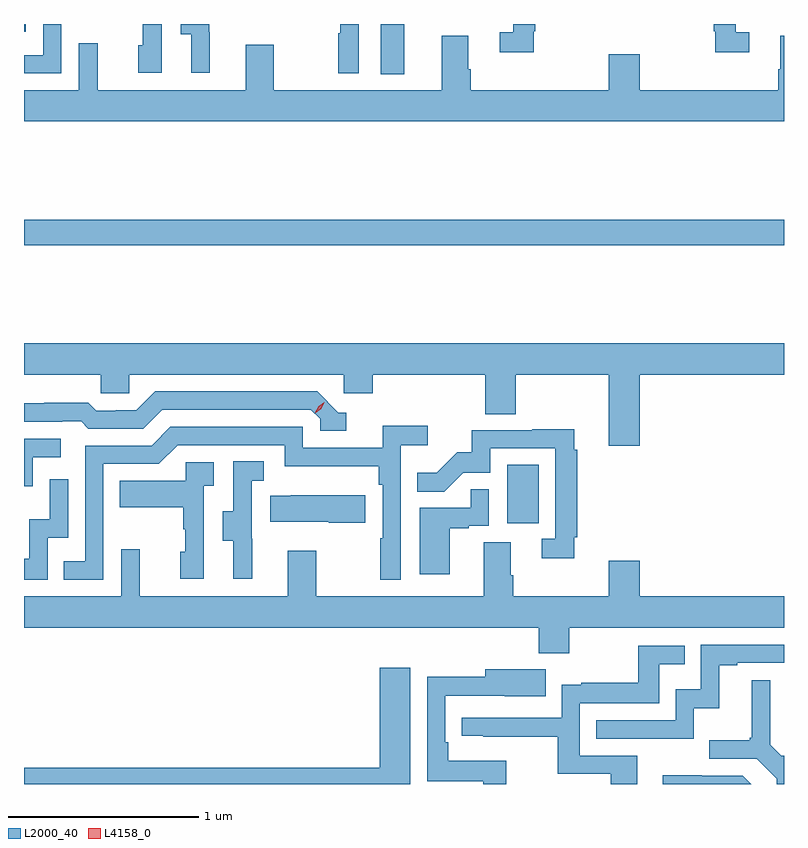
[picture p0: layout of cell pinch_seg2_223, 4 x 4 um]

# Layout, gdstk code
import gdstk
lib = gdstk.Library(unit=1e-6, precision=1e-09)
def R(c, l, rs):  # rectangles x0, y0, x1, y1
    for r in rs: c.add(gdstk.rectangle(r[:2], r[2:], *l))
def P(c, l, *ps):  # polygons
    for p in ps: c.add(gdstk.Polygon(p, *l))
L2000_40 = (2000, 40)
L4158_0 = (4158, 0)

pinch_seg2_223 = lib.new_cell('pinch_seg2_223')
R(pinch_seg2_223, L2000_40, [(1015.622,652.182,1015.786,652.489), (1013.078,653.644,1017.078,653.78), (1014.956,654.545,1015.078,654.809), (1013.078,654.768,1013.088,654.809)])
P(pinch_seg2_223, L2000_40, [(1014.056,654.765),(1014.054,654.765),(1014.054,654.809),(1013.903,654.809),(1013.903,654.754),(1013.957,654.754),(1013.957,654.552),(1014.056,654.552)],
  [(1015.762,654.772),(1015.769,654.772),(1015.769,654.809),(1015.653,654.809),(1015.653,654.765),(1015.581,654.765),(1015.581,654.66),(1015.762,654.66)],
  [(1014.84,654.809),(1014.743,654.809),(1014.743,654.761),(1014.732,654.761),(1014.732,654.549),(1014.84,654.549)],
  [(1013.274,654.809),(1013.178,654.809),(1013.178,654.645),(1013.078,654.645),(1013.078,654.549),(1013.274,654.549)],
  [(1013.802,654.809),(1013.704,654.809),(1013.704,654.696),(1013.678,654.696),(1013.678,654.552),(1013.802,654.552)],
  [(1016.896,654.765),(1016.823,654.765),(1016.823,654.809),(1016.707,654.809),(1016.707,654.772),(1016.715,654.772),(1016.715,654.66),(1016.896,654.66)],
  [(1017.078,654.746),(1017.059,654.746),(1017.059,654.572),(1017.047,654.572),(1017.047,654.46),(1016.32,654.46),(1016.32,654.649),(1016.156,654.649),(1016.156,654.46),(1015.43,654.46),(1015.43,654.572),(1015.417,654.572),(1015.417,654.746),(1015.277,654.746),(1015.277,654.46),(1014.393,654.46),(1014.393,654.7),(1014.245,654.7),(1014.245,654.46),(1013.465,654.46),(1013.465,654.709),(1013.367,654.709),(1013.367,654.46),(1013.078,654.46),(1013.078,654.296),(1017.078,654.296)],
  [(1016.32,652.964),(1017.078,652.964),(1017.078,653.128),(1013.078,653.128),(1013.078,652.964),(1013.481,652.964),(1013.481,652.866),(1013.631,652.866),(1013.631,652.964),(1014.762,652.964),(1014.762,652.866),(1014.914,652.866),(1014.914,652.964),(1015.505,652.964),(1015.505,652.756),(1015.665,652.756),(1015.665,652.964),(1016.156,652.964),(1016.156,652.59),(1016.32,652.59)],
  [(1014.775,652.764),(1014.732,652.764),(1014.621,652.875),(1013.768,652.875),(1013.669,652.776),(1013.562,652.776),(1013.562,652.773),(1013.459,652.773),(1013.417,652.816),(1013.184,652.816),(1013.184,652.813),(1013.078,652.813),(1013.078,652.716),(1013.279,652.716),(1013.279,652.719),(1013.378,652.719),(1013.417,652.68),(1013.706,652.68),(1013.805,652.779),(1014.588,652.779),(1014.636,652.731),(1014.636,652.668),(1014.775,652.668)],
  [(1013.496,652.494),(1013.787,652.494),(1013.886,652.593),(1014.45,652.593),(1014.45,652.481),(1014.946,652.481),(1014.946,652.385),(1014.966,652.385),(1014.966,652.103),(1014.954,652.103),(1014.954,651.885),(1015.062,651.885),(1015.062,652.592),(1015.204,652.592),(1015.204,652.694),(1014.965,652.694),(1014.965,652.578),(1014.546,652.578),(1014.546,652.689),(1013.849,652.689),(1013.75,652.59),(1013.4,652.59),(1013.4,651.981),(1013.287,651.981),(1013.287,651.885),(1013.496,651.885)],
  [(1015.973,652.108),(1015.991,652.108),(1015.991,652.568),(1015.973,652.568),(1015.973,652.676),(1015.753,652.676),(1015.753,652.671),(1015.435,652.671),(1015.435,652.554),(1015.358,652.554),(1015.251,652.447),(1015.147,652.447),(1015.147,652.348),(1015.291,652.348),(1015.389,652.446),(1015.533,652.446),(1015.533,652.575),(1015.875,652.575),(1015.875,652.101),(1015.803,652.101),(1015.803,651.996),(1015.973,651.996)],
  [(1013.124,652.53),(1013.272,652.53),(1013.272,652.626),(1013.078,652.626),(1013.078,652.377),(1013.124,652.377)],
  [(1014.278,652.101),(1014.276,652.101),(1014.276,652.405),(1014.34,652.405),(1014.34,652.508),(1014.18,652.508),(1014.18,652.245),(1014.125,652.245),(1014.125,652.09),(1014.179,652.09),(1014.179,651.888),(1014.278,651.888)],
  [(1014.024,652.379),(1014.076,652.379),(1014.076,652.503),(1013.928,652.503),(1013.928,652.405),(1013.581,652.405),(1013.581,652.265),(1013.916,652.265),(1013.916,652.151),(1013.926,652.151),(1013.926,652.032),(1013.9,652.032),(1013.9,651.888),(1014.024,651.888)],
  [(1013.202,652.104),(1013.31,652.104),(1013.31,652.414),(1013.214,652.414),(1013.214,652.202),(1013.105,652.202),(1013.105,651.994),(1013.078,651.994),(1013.078,651.885),(1013.202,651.885)],
  [(1015.318,652.155),(1015.418,652.155),(1015.418,652.167),(1015.524,652.167),(1015.524,652.361),(1015.429,652.361),(1015.429,652.263),(1015.16,652.263),(1015.16,651.912),(1015.318,651.912)],
  [(1014.874,652.33),(1014.481,652.33),(1014.481,652.327),(1014.373,652.327),(1014.373,652.19),(1014.683,652.19),(1014.683,652.183),(1014.874,652.183)],
  [(1015.947,651.632),(1017.078,651.632),(1017.078,651.796),(1016.32,651.796),(1016.32,651.985),(1016.156,651.985),(1016.156,651.796),(1015.652,651.796),(1015.652,651.908),(1015.639,651.908),(1015.639,652.082),(1015.499,652.082),(1015.499,651.796),(1014.615,651.796),(1014.615,652.036),(1014.467,652.036),(1014.467,651.796),(1013.687,651.796),(1013.687,652.045),(1013.589,652.045),(1013.589,651.796),(1013.078,651.796),(1013.078,651.632),(1015.787,651.632),(1015.787,651.497),(1015.947,651.497)],
  [(1016.604,651.209),(1016.737,651.209),(1016.737,651.435),(1016.833,651.435),(1016.833,651.447),(1017.078,651.447),(1017.078,651.543),(1016.64,651.543),(1016.64,651.307),(1016.508,651.307),(1016.508,651.144),(1016.089,651.144),(1016.089,651.048),(1016.604,651.048)],
  [(1016.305,650.958),(1016.004,650.958),(1016.004,651.234),(1016.421,651.234),(1016.421,651.44),(1016.555,651.44),(1016.555,651.537),(1016.31,651.537),(1016.31,651.343),(1016.011,651.343),(1016.011,651.331),(1015.908,651.331),(1015.908,651.159),(1015.383,651.159),(1015.383,651.063),(1015.495,651.063),(1015.495,651.058),(1015.888,651.058),(1015.888,650.862),(1016.165,650.862),(1016.165,650.809),(1016.305,650.809)],
  [(1015.111,651.421),(1014.95,651.421),(1014.95,650.894),(1013.078,650.894),(1013.078,650.809),(1015.111,650.809)],
  [(1015.615,650.932),(1015.31,650.932),(1015.31,651.028),(1015.296,651.028),(1015.296,651.273),(1015.609,651.273),(1015.609,651.272),(1015.823,651.272),(1015.823,651.412),(1015.505,651.412),(1015.505,651.374),(1015.2,651.374),(1015.2,650.823),(1015.494,650.823),(1015.494,650.809),(1015.615,650.809)],
  [(1017.078,650.958),(1017.063,650.958),(1017.006,651.015),(1017.006,651.355),(1016.909,651.355),(1016.909,651.052),(1016.898,651.052),(1016.898,651.04),(1016.685,651.04),(1016.685,650.943),(1016.934,650.943),(1017.041,650.836),(1017.041,650.809),(1017.078,650.809)],
  [(1016.862,650.853),(1016.646,650.853),(1016.646,650.855),(1016.441,650.855),(1016.441,650.809),(1016.906,650.809)])
P(pinch_seg2_223, L4158_0, [(1014.612,652.764),(1014.612,652.765),(1014.628,652.798),(1014.658,652.818),(1014.658,652.818),(1014.658,652.818),(1014.643,652.785),(1014.613,652.764)])

lib.write_gds('pinch_seg2_223.gds')
